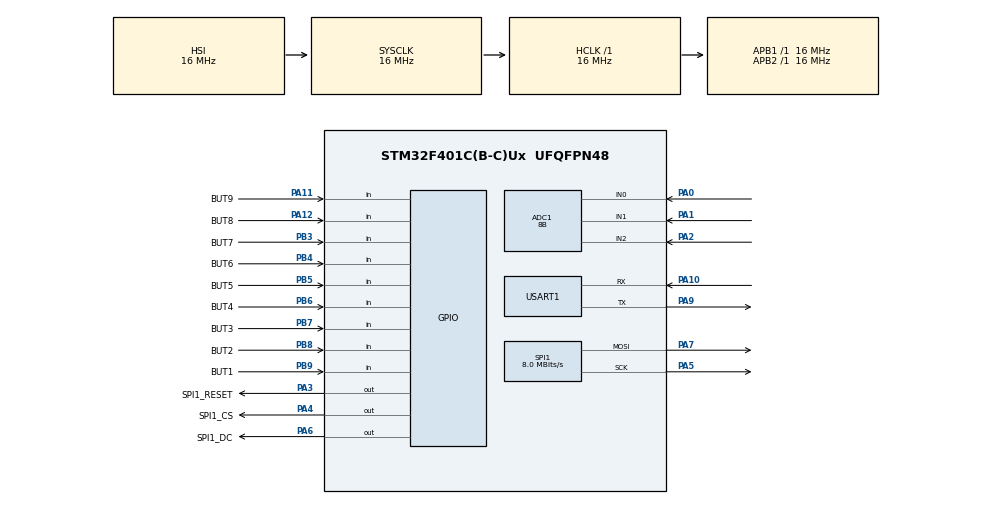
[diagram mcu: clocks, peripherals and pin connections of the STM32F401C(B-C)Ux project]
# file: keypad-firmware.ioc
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ADC1.Channel-0\#ChannelRegularConversion=ADC_CHANNEL_1
ADC1.Channel-1\#ChannelRegularConversion=ADC_CHANNEL_0
ADC1.Channel-2\#ChannelRegularConversion=ADC_CHANNEL_0
ADC1.DiscontinuousConvMode=ENABLE
ADC1.NbrOfConversion=3
ADC1.NbrOfConversionFlag=1
ADC1.Rank-0\#ChannelRegularConversion=1
ADC1.Rank-1\#ChannelRegularConversion=2
ADC1.Rank-2\#ChannelRegularConversion=3
ADC1.Resolution=ADC_RESOLUTION_8B
ADC1.SamplingTime-0\#ChannelRegularConversion=ADC_SAMPLETIME_84CYCLES
ADC1.SamplingTime-1\#ChannelRegularConversion=ADC_SAMPLETIME_84CYCLES
ADC1.SamplingTime-2\#ChannelRegularConversion=ADC_SAMPLETIME_56CYCLES
ADC1.ScanConvMode=ENABLE
ADC1.master=1
Mcu.Family=STM32F4
Mcu.Name=STM32F401C(B-C)Ux
Mcu.Package=UFQFPN48
NVIC.PriorityGroup=NVIC_PRIORITYGROUP_4
NVIC.TIM2_IRQn=true\:0\:0\:false\:false\:true\:true\:true\:true
NVIC.TIM3_IRQn=true\:0\:0\:false\:false\:true\:true\:true\:true
NVIC.TIM4_IRQn=true\:0\:0\:false\:false\:true\:true\:true\:true
PA0-WKUP.Signal=ADCx_IN0
PA1.Signal=ADCx_IN1
PA10.Mode=Asynchronous
PA10.Signal=USART1_RX
PA11.GPIO_Label=BUT9
PA11.GPIO_Mode=GPIO_MODE_INPUT
PA11.GPIO_PuPd=GPIO_PULLUP
PA11.Signal=GPIO_Input
PA12.GPIO_Label=BUT8
PA12.GPIO_Mode=GPIO_MODE_INPUT
PA12.GPIO_PuPd=GPIO_PULLUP
PA12.Signal=GPIO_Input
PA13.Mode=Serial_Wire
PA13.Signal=SYS_JTMS-SWDIO
PA14.Mode=Serial_Wire
PA14.Signal=SYS_JTCK-SWCLK
PA2.Signal=ADCx_IN2
PA3.GPIO_Label=SPI1_RESET
PA3.Signal=GPIO_Output
PA4.GPIO_Label=SPI1_CS
PA4.Signal=GPIO_Output
PA5.Mode=TX_Only_Simplex_Unidirect_Master
PA5.Signal=SPI1_SCK
PA6.GPIO_Label=SPI1_DC
PA6.Signal=GPIO_Output
PA7.Mode=TX_Only_Simplex_Unidirect_Master
PA7.Signal=SPI1_MOSI
PA9.Mode=Asynchronous
PA9.Signal=USART1_TX
PB3.GPIO_Label=BUT7
PB3.GPIO_Mode=GPIO_MODE_INPUT
PB3.GPIO_PuPd=GPIO_PULLUP
PB3.Signal=GPIO_Input
PB4.GPIO_Label=BUT6
PB4.GPIO_Mode=GPIO_MODE_INPUT
PB4.GPIO_PuPd=GPIO_PULLUP
PB4.Signal=GPIO_Input
PB5.GPIO_Label=BUT5
PB5.GPIO_Mode=GPIO_MODE_INPUT
PB5.GPIO_PuPd=GPIO_PULLUP
PB5.Signal=GPIO_Input
PB6.GPIO_Label=BUT4
PB6.GPIO_Mode=GPIO_MODE_INPUT
PB6.GPIO_PuPd=GPIO_PULLUP
PB6.Signal=GPIO_Input
PB7.GPIO_Label=BUT3
PB7.GPIO_Mode=GPIO_MODE_INPUT
PB7.GPIO_PuPd=GPIO_PULLUP
PB7.Signal=GPIO_Input
PB8.GPIO_Label=BUT2
PB8.GPIO_Mode=GPIO_MODE_INPUT
PB8.GPIO_PuPd=GPIO_PULLUP
PB8.Signal=GPIO_Input
PB9.GPIO_Label=BUT1
PB9.GPIO_Mode=GPIO_MODE_INPUT
PB9.GPIO_PuPd=GPIO_PULLUP
PB9.Signal=GPIO_Input
ProjectManager.HeapSize=0x200
ProjectManager.StackSize=0x400
ProjectManager.TargetToolchain=CMake
RCC.AHBFreq_Value=16000000
RCC.APB1Freq_Value=16000000
RCC.APB2Freq_Value=16000000
RCC.CortexFreq_Value=16000000
RCC.HSE_VALUE=25000000
RCC.HSI_VALUE=16000000
RCC.LSE_VALUE=32768
RCC.SYSCLKFreq_VALUE=16000000
RCC.VCOOutputFreq_Value=192000000
SH.ADCx_IN0.0=ADC1_IN0,IN0
SH.ADCx_IN1.0=ADC1_IN1,IN1
SH.ADCx_IN2.0=ADC1_IN2,IN2
SPI1.CalculateBaudRate=8.0 MBits/s
SPI1.Direction=SPI_DIRECTION_2LINES
SPI1.Mode=SPI_MODE_MASTER
SPI1.VirtualType=VM_MASTER
TIM2.Period=60000-1
TIM2.Prescaler=16000-1
USART1.VirtualMode=VM_ASYNC
VP_TIM2_VS_ClockSourceINT.Mode=Internal
VP_TIM3_VS_ClockSourceINT.Mode=Internal
VP_TIM4_VS_ClockSourceINT.Mode=Internal
board=custom

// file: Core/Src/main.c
/* USER CODE BEGIN Header */
/**
 ******************************************************************************
 * @file           : main.c
 * @brief          : Main program body
 ******************************************************************************
 * @attention
 *
 * Copyright (c) 2024 STMicroelectronics.
 * All rights reserved.
 *
 * This software is licensed under terms that can be found in the LICENSE file
 * in the root directory of this software component.
 * If no LICENSE file comes with this software, it is provided AS-IS.
 *
 ******************************************************************************
 */
/* USER CODE END Header */
#include "main.h"

/* USER CODE BEGIN Includes */

#include <stdio.h>
#include <string.h>
#include <stdlib.h>
#include <stdint.h>
#include <stdbool.h>
#include <math.h>

#include "u8g2.h"
#include "time.h"
#include "display.h"  // Nuovo include per il modulo display
#include "serial_protocol.h"  // Nuovo include
#include "keypad.h"  // Nuovo include per il modulo keypad

/* USER CODE END Includes */

ADC_HandleTypeDef hadc1;

SPI_HandleTypeDef hspi1;

TIM_HandleTypeDef htim2;
TIM_HandleTypeDef htim3;
TIM_HandleTypeDef htim4;

UART_HandleTypeDef huart1;

/* USER CODE BEGIN PV */

// Rimuovi la variabile u8g2 (ora gestita nel modulo display)
// static u8g2_t u8g2;

// Struttura per lo stato del display
static DISPLAY_State_t display_state;

// ADC result (temporary)
int AD_RES;

// Display values for potentiometers
char display_values1[3];
char display_values2[3];
char display_values3[3];

// ADC values from potentiometers
uint16_t pot1;
uint16_t pot2;
uint16_t pot3;

// Packet to send through UART
char packet[5];

// Song and artist variables
char song[23];
char artist[23];

// Default values for song and artist
const char default_song[23] = "No song playing";
const char default_artist[23] = "No artist playing";

// Buffer to store the received data from UART
uint8_t RX_DATA[44];

// Last key pressed
char last_key[2] = " ";

/* USER CODE END PV */

void SystemClock_Config(void);
static void MX_GPIO_Init(void);
static void MX_ADC1_Init(void);
static void MX_SPI1_Init(void);
static void MX_USART1_UART_Init(void);
static void MX_TIM2_Init(void);
static void MX_TIM3_Init(void);
static void MX_TIM4_Init(void);
/* USER CODE BEGIN PFP */
// Rimuovi le funzioni spostate nel modulo display:
// - uint8_t u8x8_stm32_gpio_and_delay(...)
// - uint8_t u8x8_byte_4wire_hw_spi(...)
// - void clearOLED()
// - void constructSkeleton()
// - void updateScreen()

void ADC_read(void);

/* RIMUOVI la funzione sendThroughUART() - ora gestita dal modulo seriale */

/* USER CODE END PFP */

/* USER CODE BEGIN 0 */

/**
 * @brief Callback per cambiamento stato del keypad
 */
static void OnKeypadStateChanged(const KEYPAD_State_t* state) {
    /* Aggiorna l'ultimo tasto premuto sul display */
    display_state.last_key[0] = state->last_key;
    display_state.last_key[1] = '\0';
    DISPLAY_UpdateState(&display_state);

    /* Invia la maschera dei tasti tramite protocollo */
    if (state->state_changed) {
        PROTO_Message_t msg;
        /* Aggiungi una funzione per creare messaggi con la maschera di tasti al protocollo */
        if (PROTO_CreateButtonMaskMsg != NULL && PROTO_CreateButtonMaskMsg(&msg, state->button_mask)) {
            PROTO_SendMessage(&msg);
        }
    }
}

/**
 * @brief Callback per la ricezione di messaggi dal protocollo
 */
static void OnMessageReceived(const PROTO_Message_t* msg) {
    uint8_t hours, minutes;

    /* Processa il messaggio in base al tipo */
    switch (msg->type) {
        case MSG_SONG_INFO:
            /* Estrai informazioni canzone */
            if (PROTO_ExtractSongInfo(msg, song, artist)) {
                /* Aggiorna stato display */
                strncpy(display_state.song, song, sizeof(display_state.song));
                strncpy(display_state.artist, artist, sizeof(display_state.artist));
                DISPLAY_UpdateState(&display_state);
            }
            break;

        case MSG_SET_TIME:
            /* Estrai informazioni tempo */
            if (PROTO_ExtractTimeInfo(msg, &hours, &minutes)) {
                /* Imposta l'ora nel modulo TIME */
                TIME_Set(hours, minutes);

                /* Aggiorna lo stato del display */
                char time_str[6];
                TIME_GetFormatted(time_str);
                strncpy(display_state.time, time_str, sizeof(display_state.time));
                DISPLAY_UpdateState(&display_state);
            }
            break;

        case MSG_ACK:
            /* Gestione conferma ricezione */
            break;

        default:
            /* Tipo messaggio non gestito */
            break;
    }
}

/**
  * @brief Timer period elapsed callback
  */
void HAL_TIM_PeriodElapsedCallback(TIM_HandleTypeDef *htim)
{
    // Verifica che sia il timer TIM2 (timer dell'orologio)
    if (htim->Instance == TIM2) {
        TIME_IncrementMinute();

        // Aggiorna l'ora nella struttura dello stato del display
        char time_str[6];
        TIME_GetFormatted(time_str);
        strcpy(display_state.time, time_str);

        // Aggiorna lo stato del display
        DISPLAY_UpdateState(&display_state);
    }
    // Verifica che sia il timer TIM3 (timer del display)
    else if (htim->Instance == TIM3) {
        DISPLAY_TimerHandler();
    }
    // Verifica che sia il timer TIM4 (timer del keypad)
    else if (htim->Instance == TIM4) {
        KEYPAD_TimerHandler(htim);
    }
}

/**
  * @brief  UART receive complete callback
  */
void HAL_UART_RxCpltCallback(UART_HandleTypeDef *huart)
{
    // Delega la gestione al modulo protocollo
    PROTO_RxCpltCallback(huart);
}

/**
 * @brief Reads and processes ADC values
 */
void ADC_read(void)
{
    static uint32_t last_update_time = 0;
    uint32_t current_time = HAL_GetTick();

    if (current_time - last_update_time >= 100)
    {
        last_update_time = current_time;

        // Read ADC values
        HAL_ADC_Start(&hadc1);
        HAL_ADC_PollForConversion(&hadc1, 1);
        pot1 = HAL_ADC_GetValue(&hadc1);
        HAL_ADC_Start(&hadc1);
        HAL_ADC_PollForConversion(&hadc1, 1);
        pot2 = HAL_ADC_GetValue(&hadc1);
        HAL_ADC_Start(&hadc1);
        HAL_ADC_PollForConversion(&hadc1, 1);
        pot3 = HAL_ADC_GetValue(&hadc1);

        // Convert to display values
        float converted_result1 = 99 - ((pot1 * 100) / 256);
        float converted_result2 = 99 - ((pot2 * 100) / 256);
        float converted_result3 = 99 - ((pot3 * 100) / 256);

        // Format as strings
        display_values1[0] = (int)converted_result1 / 10 + 48;
        display_values1[1] = (int)converted_result1 % 10 + 48;
        display_values1[2] = '\0';

        display_values2[0] = (int)converted_result2 / 10 + 48;
        display_values2[1] = (int)converted_result2 % 10 + 48;
        display_values2[2] = '\0';

        display_values3[0] = (int)converted_result3 / 10 + 48;
        display_values3[1] = (int)converted_result3 % 10 + 48;
        display_values3[2] = '\0';

        // Update display state
        strcpy(display_state.pot1_value, display_values1);
        strcpy(display_state.pot2_value, display_values2);
        strcpy(display_state.pot3_value, display_values3);
        DISPLAY_UpdateState(&display_state);

        // Send pot values using protocol
        PROTO_Message_t msg;
        if (PROTO_CreatePotValuesMsg(&msg, pot1, pot2, pot3)) {
            PROTO_SendMessage(&msg);
        }
    }
}

/**
 * @brief Funzione per richiedere l'orario iniziale
 */
static bool RequestInitialTime(void) {
    // Mostra schermata di attesa
    DISPLAY_ShowWaitScreen();

    // Crea un messaggio di richiesta orario
    PROTO_Message_t msg;
    msg.type = MSG_TIME_REQUEST;
    msg.length = 0;

    // Invia la richiesta con timeout
    uint32_t start_time = HAL_GetTick();
    do {
        if (PROTO_SendMessage(&msg)) {
            return true;
        }
        HAL_Delay(100);
    } while ((HAL_GetTick() - start_time) < 5000); // Riprova per 5 secondi

    return false;
}

/* USER CODE END 0 */

int main(void)
{

  /* MCU Configuration--------------------------------------------------------*/

  /* Reset of all peripherals, Initializes the Flash interface and the Systick. */
  HAL_Init();

  /* Configure the system clock */
  SystemClock_Config();

  /* Initialize all configured peripherals */
  MX_GPIO_Init();
  MX_ADC1_Init();
  MX_SPI1_Init();
  MX_USART1_UART_Init();
  MX_TIM2_Init();
  MX_TIM3_Init();  // Timer per il display
  MX_TIM4_Init();  // Timer per il keypad
  /* USER CODE BEGIN 2 */

  // Inizializza il modulo di gestione del tempo
  TIME_Init();

  // Inizializza il modulo display (passa TIM3 e SPI1)
  if (!DISPLAY_Init(&htim3, &hspi1)) {
    Error_Handler();
  }

  // Inizializza il protocollo di comunicazione
  if (!PROTO_Init(&huart1)) {
    Error_Handler();
  }

  // Inizializza il modulo keypad
  if (!KEYPAD_Init(&htim4)) {
    Error_Handler();
  }

  // Registra i callback
  PROTO_RegisterCallback(OnMessageReceived);
  KEYPAD_RegisterCallback(OnKeypadStateChanged);

  // Richiedi l'orario iniziale
  if (!RequestInitialTime()) {
    // Imposta un orario predefinito in caso di fallimento
    TIME_Set(12, 0);
  }

  // Avvia il timer per l'orologio
  HAL_TIM_Base_Start_IT(&htim2);

  // Avvia il timer per il display
  HAL_TIM_Base_Start_IT(&htim3);

  // Avvia il timer per il keypad
  HAL_TIM_Base_Start_IT(&htim4);

  // Avvia la ricezione seriale in modalità interrupt
  if (!PROTO_StartReceive()) {
    Error_Handler();
  }

  // Inizializza lo stato del display
  char time_str[6];
  TIME_GetFormatted(time_str);

  strcpy(display_state.time, time_str);
  strcpy(display_state.last_key, " ");
  strcpy(display_state.song, default_song);
  strcpy(display_state.artist, default_artist);
  strcpy(display_state.pot1_value, "00");
  strcpy(display_state.pot2_value, "00");
  strcpy(display_state.pot3_value, "00");

  DISPLAY_UpdateState(&display_state);

  /* USER CODE END 2 */

  /* Infinite loop */
  /* USER CODE BEGIN WHILE */
  while (1)
  {

    // take the first 2 values from potentiometers and convert them to string
    ADC_read();

    // handle the case when the song and artist are empty
    if (song[0] == '\0')
    {
      strncpy(song, default_song, sizeof(song));
      strncpy(display_state.song, song, sizeof(display_state.song));
    }
    if (artist[0] == '\0')
    {
      strncpy(artist, default_artist, sizeof(artist));
      strncpy(display_state.artist, artist, sizeof(display_state.artist));
    }

    /* RIMOSSO: updateScreen(); - ora gestito dal modulo display */

    /* USER CODE END WHILE */

  }
}

void SystemClock_Config(void)
{
  RCC_OscInitTypeDef RCC_OscInitStruct = {0};
  RCC_ClkInitTypeDef RCC_ClkInitStruct = {0};

  /** Configure the main internal regulator output voltage
  */
  __HAL_RCC_PWR_CLK_ENABLE();
  __HAL_PWR_VOLTAGESCALING_CONFIG(PWR_REGULATOR_VOLTAGE_SCALE2);

  /** Initializes the RCC Oscillators according to the specified parameters
  * in the RCC_OscInitTypeDef structure.
  */
  RCC_OscInitStruct.OscillatorType = RCC_OSCILLATORTYPE_HSI;
  RCC_OscInitStruct.HSIState = RCC_HSI_ON;
  RCC_OscInitStruct.HSICalibrationValue = RCC_HSICALIBRATION_DEFAULT;
  RCC_OscInitStruct.PLL.PLLState = RCC_PLL_NONE;
  if (HAL_RCC_OscConfig(&RCC_OscInitStruct) != HAL_OK)
  {
    Error_Handler();
  }

  /** Initializes the CPU, AHB and APB buses clocks
  */
  RCC_ClkInitStruct.ClockType = RCC_CLOCKTYPE_HCLK|RCC_CLOCKTYPE_SYSCLK
                              |RCC_CLOCKTYPE_PCLK1|RCC_CLOCKTYPE_PCLK2;
  RCC_ClkInitStruct.SYSCLKSource = RCC_SYSCLKSOURCE_HSI;
  RCC_ClkInitStruct.AHBCLKDivider = RCC_SYSCLK_DIV1;
  RCC_ClkInitStruct.APB1CLKDivider = RCC_HCLK_DIV1;
  RCC_ClkInitStruct.APB2CLKDivider = RCC_HCLK_DIV1;

  if (HAL_RCC_ClockConfig(&RCC_ClkInitStruct, FLASH_LATENCY_0) != HAL_OK)
  {
    Error_Handler();
  }
}

static void MX_ADC1_Init(void)
{

  ADC_ChannelConfTypeDef sConfig = {0};

  /** Configure the global features of the ADC (Clock, Resolution, Data Alignment and number of conversion)
  */
  hadc1.Instance = ADC1;
  hadc1.Init.ClockPrescaler = ADC_CLOCK_SYNC_PCLK_DIV2;
  hadc1.Init.Resolution = ADC_RESOLUTION_8B;
  hadc1.Init.ScanConvMode = ENABLE;
  hadc1.Init.ContinuousConvMode = DISABLE;
  hadc1.Init.DiscontinuousConvMode = ENABLE;
  hadc1.Init.NbrOfDiscConversion = 1;
  hadc1.Init.ExternalTrigConvEdge = ADC_EXTERNALTRIGCONVEDGE_NONE;
  hadc1.Init.ExternalTrigConv = ADC_SOFTWARE_START;
  hadc1.Init.DataAlign = ADC_DATAALIGN_RIGHT;
  hadc1.Init.NbrOfConversion = 3;
  hadc1.Init.DMAContinuousRequests = DISABLE;
  hadc1.Init.EOCSelection = ADC_EOC_SINGLE_CONV;
  if (HAL_ADC_Init(&hadc1) != HAL_OK)
  {
    Error_Handler();
  }

  /** Configure for the selected ADC regular channel its corresponding rank in the sequencer and its sample time.
  */
  sConfig.Channel = ADC_CHANNEL_1;
  sConfig.Rank = 1;
  sConfig.SamplingTime = ADC_SAMPLETIME_84CYCLES;
  if (HAL_ADC_ConfigChannel(&hadc1, &sConfig) != HAL_OK)
  {
    Error_Handler();
  }

  /** Configure for the selected ADC regular channel its corresponding rank in the sequencer and its sample time.
  */
  sConfig.Channel = ADC_CHANNEL_0;
  sConfig.Rank = 2;
  if (HAL_ADC_ConfigChannel(&hadc1, &sConfig) != HAL_OK)
  {
    Error_Handler();
  }

  /** Configure for the selected ADC regular channel its corresponding rank in the sequencer and its sample time.
  */
  sConfig.Rank = 3;
  sConfig.SamplingTime = ADC_SAMPLETIME_56CYCLES;
  if (HAL_ADC_ConfigChannel(&hadc1, &sConfig) != HAL_OK)
  {
    Error_Handler();
  }

}

static void MX_SPI1_Init(void)
{

  /* SPI1 parameter configuration*/
  hspi1.Instance = SPI1;
  hspi1.Init.Mode = SPI_MODE_MASTER;
  hspi1.Init.Direction = SPI_DIRECTION_2LINES;
  hspi1.Init.DataSize = SPI_DATASIZE_8BIT;
  hspi1.Init.CLKPolarity = SPI_POLARITY_LOW;
  hspi1.Init.CLKPhase = SPI_PHASE_1EDGE;
  hspi1.Init.NSS = SPI_NSS_SOFT;
  hspi1.Init.BaudRatePrescaler = SPI_BAUDRATEPRESCALER_2;
  hspi1.Init.FirstBit = SPI_FIRSTBIT_MSB;
  hspi1.Init.TIMode = SPI_TIMODE_DISABLE;
  hspi1.Init.CRCCalculation = SPI_CRCCALCULATION_DISABLE;
  hspi1.Init.CRCPolynomial = 10;
  if (HAL_SPI_Init(&hspi1) != HAL_OK)
  {
    Error_Handler();
  }

}

static void MX_TIM2_Init(void)
{

  TIM_ClockConfigTypeDef sClockSourceConfig = {0};
  TIM_MasterConfigTypeDef sMasterConfig = {0};

  htim2.Instance = TIM2;
  htim2.Init.Prescaler = 16000-1;
  htim2.Init.CounterMode = TIM_COUNTERMODE_UP;
  htim2.Init.Period = 60000-1;
  htim2.Init.ClockDivision = TIM_CLOCKDIVISION_DIV1;
  htim2.Init.AutoReloadPreload = TIM_AUTORELOAD_PRELOAD_DISABLE;
  if (HAL_TIM_Base_Init(&htim2) != HAL_OK)
  {
    Error_Handler();
  }
  sClockSourceConfig.ClockSource = TIM_CLOCKSOURCE_INTERNAL;
  if (HAL_TIM_ConfigClockSource(&htim2, &sClockSourceConfig) != HAL_OK)
  {
    Error_Handler();
  }
  sMasterConfig.MasterOutputTrigger = TIM_TRGO_RESET;
  sMasterConfig.MasterSlaveMode = TIM_MASTERSLAVEMODE_DISABLE;
  if (HAL_TIMEx_MasterConfigSynchronization(&htim2, &sMasterConfig) != HAL_OK)
  {
    Error_Handler();
  }

}

static void MX_TIM3_Init(void)
{

  TIM_ClockConfigTypeDef sClockSourceConfig = {0};
  TIM_MasterConfigTypeDef sMasterConfig = {0};

  htim3.Instance = TIM3;
  htim3.Init.Prescaler = 16000-1;          /* 16MHz / 16000 = 1kHz */
  htim3.Init.CounterMode = TIM_COUNTERMODE_UP;
  htim3.Init.Period = 1000-1;              /* 1000ms = 1 secondo */
  htim3.Init.ClockDivision = TIM_CLOCKDIVISION_DIV1;
  htim3.Init.AutoReloadPreload = TIM_AUTORELOAD_PRELOAD_ENABLE;
  if (HAL_TIM_Base_Init(&htim3) != HAL_OK)
  {
    Error_Handler();
  }
  sClockSourceConfig.ClockSource = TIM_CLOCKSOURCE_INTERNAL;
  if (HAL_TIM_ConfigClockSource(&htim3, &sClockSourceConfig) != HAL_OK)
  {
    Error_Handler();
  }
  sMasterConfig.MasterOutputTrigger = TIM_TRGO_RESET;
  sMasterConfig.MasterSlaveMode = TIM_MASTERSLAVEMODE_DISABLE;
  if (HAL_TIMEx_MasterConfigSynchronization(&htim3, &sMasterConfig) != HAL_OK)
  {
    Error_Handler();
  }
  /* USER CODE BEGIN TIM3_Init 2 */

  /* Imposta una priorità bassa per l'interrupt */
  HAL_NVIC_SetPriority(TIM3_IRQn, 15, 0);

  /* USER CODE END TIM3_Init 2 */
}

static void MX_TIM4_Init(void)
{

  TIM_ClockConfigTypeDef sClockSourceConfig = {0};
  TIM_MasterConfigTypeDef sMasterConfig = {0};

  htim4.Instance = TIM4;
  htim4.Init.Prescaler = 16000-1;       /* 16MHz / 16000 = 1kHz */
  htim4.Init.CounterMode = TIM_COUNTERMODE_UP;
  htim4.Init.Period = 1-1;              /* 1ms */
  htim4.Init.ClockDivision = TIM_CLOCKDIVISION_DIV1;
  htim4.Init.AutoReloadPreload = TIM_AUTORELOAD_PRELOAD_ENABLE;
  if (HAL_TIM_Base_Init(&htim4) != HAL_OK)
  {
    Error_Handler();
  }
  sClockSourceConfig.ClockSource = TIM_CLOCKSOURCE_INTERNAL;
  if (HAL_TIM_ConfigClockSource(&htim4, &sClockSourceConfig) != HAL_OK)
  {
    Error_Handler();
  }
  sMasterConfig.MasterOutputTrigger = TIM_TRGO_RESET;
  sMasterConfig.MasterSlaveMode = TIM_MASTERSLAVEMODE_DISABLE;
  if (HAL_TIMEx_MasterConfigSynchronization(&htim4, &sMasterConfig) != HAL_OK)
  {
    Error_Handler();
  }
  /* USER CODE BEGIN TIM4_Init 2 */

  /* Imposta priorità media per l'interrupt */
  HAL_NVIC_SetPriority(TIM4_IRQn, 10, 0);

  /* USER CODE END TIM4_Init 2 */
}

static void MX_USART1_UART_Init(void)
{

  huart1.Instance = USART1;
  huart1.Init.BaudRate = 115200;
  huart1.Init.WordLength = UART_WORDLENGTH_8B;
  huart1.Init.StopBits = UART_STOPBITS_1;
  huart1.Init.Parity = UART_PARITY_NONE;
  huart1.Init.Mode = UART_MODE_TX_RX;
  huart1.Init.HwFlowCtl = UART_HWCONTROL_NONE;
  huart1.Init.OverSampling = UART_OVERSAMPLING_16;
  if (HAL_UART_Init(&huart1) != HAL_OK)
  {
    Error_Handler();
  }

}

static void MX_GPIO_Init(void)
{
  GPIO_InitTypeDef GPIO_InitStruct = {0};

  /* GPIO Ports Clock Enable */
  __HAL_RCC_GPIOA_CLK_ENABLE();
  __HAL_RCC_GPIOB_CLK_ENABLE();

  /*Configure GPIO pin Output Level */
  HAL_GPIO_WritePin(GPIOA, SPI1_RESET_Pin|SPI1_CS_Pin|SPI1_DC_Pin, GPIO_PIN_RESET);

  /*Configure GPIO pins : SPI1_RESET_Pin SPI1_CS_Pin SPI1_DC_Pin */
  GPIO_InitStruct.Pin = SPI1_RESET_Pin|SPI1_CS_Pin|SPI1_DC_Pin;
  GPIO_InitStruct.Mode = GPIO_MODE_OUTPUT_PP;
  GPIO_InitStruct.Pull = GPIO_NOPULL;
  GPIO_InitStruct.Speed = GPIO_SPEED_FREQ_LOW;
  HAL_GPIO_Init(GPIOA, &GPIO_InitStruct);

  /*Configure GPIO pins : BUT9_Pin BUT8_Pin */
  GPIO_InitStruct.Pin = BUT9_Pin|BUT8_Pin;
  GPIO_InitStruct.Mode = GPIO_MODE_INPUT;
  GPIO_InitStruct.Pull = GPIO_PULLUP;
  HAL_GPIO_Init(GPIOA, &GPIO_InitStruct);

  /*Configure GPIO pins : BUT7_Pin BUT6_Pin BUT5_Pin BUT4_Pin
                           BUT3_Pin BUT2_Pin BUT1_Pin */
  GPIO_InitStruct.Pin = BUT7_Pin|BUT6_Pin|BUT5_Pin|BUT4_Pin
                          |BUT3_Pin|BUT2_Pin|BUT1_Pin;
  GPIO_InitStruct.Mode = GPIO_MODE_INPUT;
  GPIO_InitStruct.Pull = GPIO_PULLUP;
  HAL_GPIO_Init(GPIOB, &GPIO_InitStruct);

}

void Error_Handler(void)
{
  __disable_irq();
  while (1)
  {
  }
}
